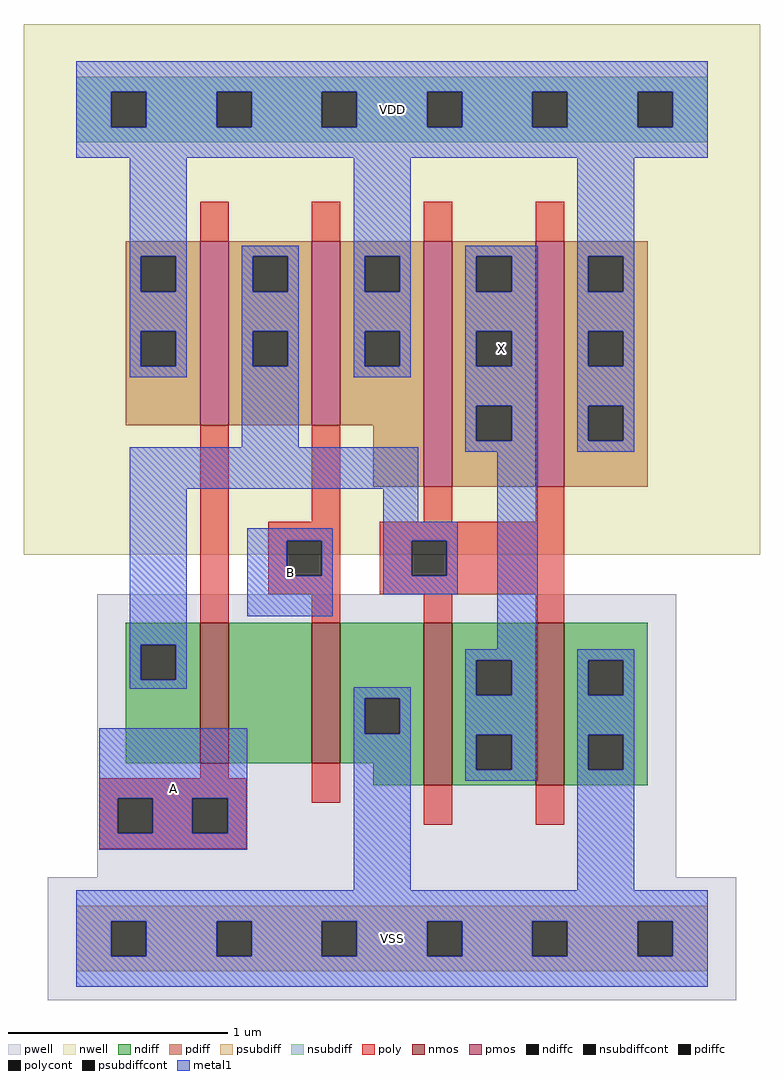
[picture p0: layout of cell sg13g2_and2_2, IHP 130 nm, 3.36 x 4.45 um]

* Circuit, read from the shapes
.subckt sg13g2_and2_2 X VSS VDD B A
XM1 n1 A n2 VSS sg13_lv_nmos w=0.64u l=0.13u
XM2 VSS B n1 VSS sg13_lv_nmos w=0.64u l=0.13u
XM3 X n2 VSS VSS sg13_lv_nmos w=0.74u l=0.13u m=2
XM4 n2 A VDD VDD sg13_lv_pmos w=0.84u l=0.13u
XM5 VDD B n2 VDD sg13_lv_pmos w=0.84u l=0.13u
XM6 X n2 VDD VDD sg13_lv_pmos w=1.12u l=0.13u m=2
.ends

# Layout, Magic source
magic
tech ihp-sg13g2
magscale 1 2
<< nwell >>
rect -48 350 624 834
<< pwell >>
rect 19 56 547 314
rect -26 -56 602 56
<< nmos >>
rect 113 160 139 288
rect 215 160 241 288
rect 317 140 343 288
rect 419 140 445 288
<< pmos >>
rect 113 468 139 636
rect 215 468 241 636
rect 317 412 343 636
rect 419 412 445 636
<< ndiff >>
rect 45 268 113 288
rect 45 236 59 268
rect 91 236 113 268
rect 45 160 113 236
rect 139 160 215 288
rect 241 219 317 288
rect 241 187 263 219
rect 295 187 317 219
rect 241 160 317 187
rect 271 140 317 160
rect 343 254 419 288
rect 343 222 365 254
rect 397 222 419 254
rect 343 186 419 222
rect 343 154 365 186
rect 397 154 419 186
rect 343 140 419 154
rect 445 254 521 288
rect 445 222 467 254
rect 499 222 521 254
rect 445 186 521 222
rect 445 154 467 186
rect 499 154 521 186
rect 445 140 521 154
<< pdiff >>
rect 45 622 113 636
rect 45 590 59 622
rect 91 590 113 622
rect 45 554 113 590
rect 45 522 59 554
rect 91 522 113 554
rect 45 468 113 522
rect 139 622 215 636
rect 139 590 161 622
rect 193 590 215 622
rect 139 554 215 590
rect 139 522 161 554
rect 193 522 215 554
rect 139 468 215 522
rect 241 622 317 636
rect 241 590 263 622
rect 295 590 317 622
rect 241 554 317 590
rect 241 522 263 554
rect 295 522 317 554
rect 241 468 317 522
rect 271 412 317 468
rect 343 622 419 636
rect 343 590 365 622
rect 397 590 419 622
rect 343 554 419 590
rect 343 522 365 554
rect 397 522 419 554
rect 343 486 419 522
rect 343 454 365 486
rect 397 454 419 486
rect 343 412 419 454
rect 445 622 521 636
rect 445 590 467 622
rect 499 590 521 622
rect 445 554 521 590
rect 445 522 467 554
rect 499 522 521 554
rect 445 486 521 522
rect 445 454 467 486
rect 499 454 521 486
rect 445 412 521 454
<< ndiffc >>
rect 59 236 91 268
rect 263 187 295 219
rect 365 222 397 254
rect 365 154 397 186
rect 467 222 499 254
rect 467 154 499 186
<< pdiffc >>
rect 59 590 91 622
rect 59 522 91 554
rect 161 590 193 622
rect 161 522 193 554
rect 263 590 295 622
rect 263 522 295 554
rect 365 590 397 622
rect 365 522 397 554
rect 365 454 397 486
rect 467 590 499 622
rect 467 522 499 554
rect 467 454 499 486
<< psubdiff >>
rect 0 16 576 30
rect 0 -16 32 16
rect 64 -16 128 16
rect 160 -16 224 16
rect 256 -16 320 16
rect 352 -16 416 16
rect 448 -16 512 16
rect 544 -16 576 16
rect 0 -30 576 -16
<< nsubdiff >>
rect 0 772 576 786
rect 0 740 32 772
rect 64 740 128 772
rect 160 740 224 772
rect 256 740 320 772
rect 352 740 416 772
rect 448 740 512 772
rect 544 740 576 772
rect 0 726 576 740
<< psubdiffcont >>
rect 32 -16 64 16
rect 128 -16 160 16
rect 224 -16 256 16
rect 320 -16 352 16
rect 416 -16 448 16
rect 512 -16 544 16
<< nsubdiffcont >>
rect 32 740 64 772
rect 128 740 160 772
rect 224 740 256 772
rect 320 740 352 772
rect 416 740 448 772
rect 512 740 544 772
<< poly >>
rect 113 636 139 672
rect 215 636 241 672
rect 317 636 343 672
rect 419 636 445 672
rect 113 288 139 468
rect 215 380 241 468
rect 317 380 343 412
rect 419 380 445 412
rect 175 363 241 380
rect 175 331 192 363
rect 224 331 241 363
rect 175 314 241 331
rect 277 363 445 380
rect 277 331 306 363
rect 338 331 445 363
rect 277 314 445 331
rect 215 288 241 314
rect 317 288 343 314
rect 419 288 445 314
rect 113 146 139 160
rect 21 128 155 146
rect 21 96 38 128
rect 70 96 106 128
rect 138 96 155 128
rect 215 124 241 160
rect 317 104 343 140
rect 419 104 445 140
rect 21 82 155 96
<< polycont >>
rect 192 331 224 363
rect 306 331 338 363
rect 38 96 70 128
rect 106 96 138 128
<< metal1 >>
rect 0 772 576 800
rect 0 740 32 772
rect 64 740 128 772
rect 160 740 224 772
rect 256 740 320 772
rect 352 740 416 772
rect 448 740 512 772
rect 544 740 576 772
rect 0 712 576 740
rect 49 622 101 712
rect 49 590 59 622
rect 91 590 101 622
rect 49 554 101 590
rect 49 522 59 554
rect 91 522 101 554
rect 49 512 101 522
rect 151 622 203 632
rect 151 590 161 622
rect 193 590 203 622
rect 151 554 203 590
rect 151 522 161 554
rect 193 522 203 554
rect 151 448 203 522
rect 253 622 305 712
rect 253 590 263 622
rect 295 590 305 622
rect 253 554 305 590
rect 253 522 263 554
rect 295 522 305 554
rect 253 512 305 522
rect 355 622 421 632
rect 355 590 365 622
rect 397 590 421 622
rect 355 554 421 590
rect 355 522 365 554
rect 397 522 421 554
rect 355 486 421 522
rect 355 454 365 486
rect 397 454 421 486
rect 49 410 312 448
rect 355 444 421 454
rect 457 622 509 712
rect 457 590 467 622
rect 499 590 509 622
rect 457 554 509 590
rect 457 522 467 554
rect 499 522 509 554
rect 457 486 509 522
rect 457 454 467 486
rect 499 454 509 486
rect 457 444 509 454
rect 49 268 101 410
rect 280 380 312 410
rect 156 363 234 374
rect 156 331 192 363
rect 224 331 234 363
rect 156 294 234 331
rect 280 363 348 380
rect 280 331 306 363
rect 338 331 348 363
rect 280 314 348 331
rect 49 236 59 268
rect 91 236 101 268
rect 384 264 421 444
rect 49 228 101 236
rect 355 254 421 264
rect 253 219 305 229
rect 21 128 156 192
rect 21 96 38 128
rect 70 96 106 128
rect 138 96 156 128
rect 21 81 156 96
rect 253 187 263 219
rect 295 187 305 219
rect 253 44 305 187
rect 355 222 365 254
rect 397 222 421 254
rect 355 186 421 222
rect 355 154 365 186
rect 397 154 421 186
rect 355 144 421 154
rect 457 254 509 264
rect 457 222 467 254
rect 499 222 509 254
rect 457 186 509 222
rect 457 154 467 186
rect 499 154 509 186
rect 457 44 509 154
rect 0 16 576 44
rect 0 -16 32 16
rect 64 -16 128 16
rect 160 -16 224 16
rect 256 -16 320 16
rect 352 -16 416 16
rect 448 -16 512 16
rect 544 -16 576 16
rect 0 -44 576 -16
<< labels >>
flabel metal1 s 355 444 421 632 0 FreeSans 400 0 0 0 X
port 2 nsew
flabel metal1 s 0 -44 576 44 0 FreeSans 400 0 0 0 VSS
port 3 nsew
flabel metal1 s 0 712 576 800 0 FreeSans 400 0 0 0 VDD
port 4 nsew
flabel metal1 s 156 294 234 374 0 FreeSans 400 0 0 0 B
port 5 nsew
flabel metal1 s 21 81 156 192 0 FreeSans 400 0 0 0 A
port 6 nsew
<< properties >>
string FIXED_BBOX 0 0 576 756
string GDS_END 224714
string GDS_FILE 6_final.gds
string GDS_START 219876
<< end >>
